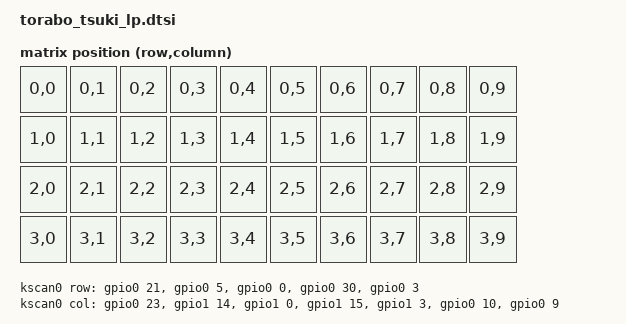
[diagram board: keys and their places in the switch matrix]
#include <zephyr/dt-bindings/gpio/nordic-nrf-gpio.h>
#include <dt-bindings/zmk/matrix_transform.h>
#include "torabo_tsuki_lp_layouts.dtsi"

/ {
    chosen {
        zmk,physical-layout = &physical_layout_xs;
        zmk,kscan = &kscan0;
        zmk,battery = &non_lipo_battery;
    };

    // --- エラー回避用の必須定義 ---
    pointing_listener: pointing_listener {
        compatible = "zmk,input-listener";
        status = "disabled";
    };

    // --- 4x5 (XS) レイアウト定義 ---
    physical_layout_xs: physical_layout_xs {
        compatible = "zmk,physical-layout";
        display-name = "XS Layout (4x5)";
        kscan = <&kscan0>;
        transform = <&size_xs_transform>;
    };

    // --- 4x5 マトリックス変換 ---
    size_xs_transform: size_xs_transform {
        compatible = "zmk,matrix-transform";
        columns = <10>;
        rows = <4>;
        map = <
            RC(0,0) RC(0,1) RC(0,2) RC(0,3) RC(0,4)    RC(0,5) RC(0,6) RC(0,7) RC(0,8) RC(0,9)
            RC(1,0) RC(1,1) RC(1,2) RC(1,3) RC(1,4)    RC(1,5) RC(1,6) RC(1,7) RC(1,8) RC(1,9)
            RC(2,0) RC(2,1) RC(2,2) RC(2,3) RC(2,4)    RC(2,5) RC(2,6) RC(2,7) RC(2,8) RC(2,9)
            RC(3,0) RC(3,1) RC(3,2) RC(3,3) RC(3,4)    RC(3,5) RC(3,6) RC(3,7) RC(3,8) RC(3,9)
        >;
    };

    // --- BMP Boost ピン指定 ---
    kscan0: kscan {
        compatible = "zmk,kscan-gpio-matrix";
        col-gpios
            = <&gpio0 23 (GPIO_ACTIVE_HIGH | GPIO_PULL_DOWN)> // P0.23
            , <&gpio1 14 (GPIO_ACTIVE_HIGH | GPIO_PULL_DOWN)> // P1.14
            , <&gpio1  0 (GPIO_ACTIVE_HIGH | GPIO_PULL_DOWN)> // P1.00
            , <&gpio1 15 (GPIO_ACTIVE_HIGH | GPIO_PULL_DOWN)> // P1.15
            , <&gpio1  3 (GPIO_ACTIVE_HIGH | GPIO_PULL_DOWN)> // P1.03
            , <&gpio0 10 (GPIO_ACTIVE_HIGH | GPIO_PULL_DOWN)> // P0.10
            , <&gpio0  9 (GPIO_ACTIVE_HIGH | GPIO_PULL_DOWN)> // P0.09
            ;
        row-gpios
            = <&gpio0 21 (GPIO_ACTIVE_HIGH)> // P0.21
            , <&gpio0  5 (GPIO_ACTIVE_HIGH)> // P0.05
            , <&gpio0  0 (GPIO_ACTIVE_HIGH)> // P0.00
            , <&gpio0 30 (GPIO_ACTIVE_HIGH)> // P0.30
            , <&gpio0  3 (GPIO_ACTIVE_HIGH)> // P0.03
            ;
        wakeup-source;
    };

    // --- その他必須ノード ---
    leds {
        compatible = "gpio-leds";
        status_led: status_led {
            gpios = <&gpio0 8 GPIO_ACTIVE_HIGH>;
            label = "Status LED";
        };
    };

    status_led_device: status_led_device {
        compatible = "zmk,status-led";
        led = <&status_led>;
    };

    bootloader_trigger: bootloader_trigger {
        compatible = "zmk,cdc-acm-bootloader-trigger";
    };

    non_lipo_battery: non_lipo_battery {
        compatible = "zmk,non-lipo-battery";
        io-channels = <&adc 4>;
    };
};

// BMP Boost SPI設定
&pinctrl {
    spi0_default: spi0_default {
        group1 {
            psels = <NRF_PSEL(SPIM_SCK, 0, 17)>,
                    <NRF_PSEL(SPIM_MOSI, 0, 21)>,
                    <NRF_PSEL(SPIM_MISO, 0, 21)>;
        };
    };
    spi0_sleep: spi0_sleep {
        group1 {
            psels = <NRF_PSEL(SPIM_SCK, 0, 17)>,
                    <NRF_PSEL(SPIM_MOSI, 0, 21)>,
                    <NRF_PSEL(SPIM_MISO, 0, 21)>;
            low-power-enable;
        };
    };
};
